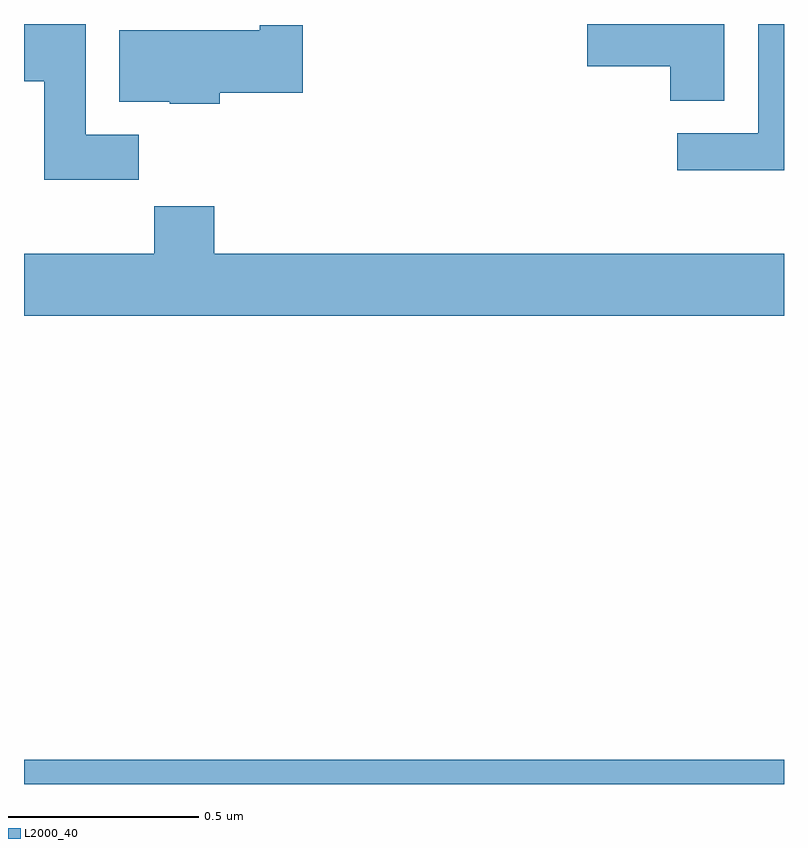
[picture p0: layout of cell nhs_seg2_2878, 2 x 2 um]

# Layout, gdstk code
import gdstk
lib = gdstk.Library(unit=1e-6, precision=1e-09)
def R(c, l, rs):  # rectangles x0, y0, x1, y1
    for r in rs: c.add(gdstk.rectangle(r[:2], r[2:], *l))
def P(c, l, *ps):  # polygons
    for p in ps: c.add(gdstk.Polygon(p, *l))
L2000_40 = (2000, 40)

nhs_seg2_2878 = lib.new_cell('nhs_seg2_2878')
R(nhs_seg2_2878, L2000_40, [(147,583.8,149,583.864)])
P(nhs_seg2_2878, L2000_40, [(148.843,585.8),(148.482,585.8),(148.482,585.689),(148.7,585.689),(148.7,585.598),(148.843,585.598)],
  [(147.302,585.508),(147.163,585.508),(147.163,585.8),(147,585.8),(147,585.649),(147.053,585.649),(147.053,585.39),(147.302,585.39)],
  [(149,585.8),(148.932,585.8),(148.932,585.513),(148.719,585.513),(148.719,585.415),(149,585.415)],
  [(147.515,585.619),(147.733,585.619),(147.733,585.797),(147.62,585.797),(147.62,585.784),(147.251,585.784),(147.251,585.596),(147.384,585.596),(147.384,585.59),(147.515,585.59)],
  [(147.343,585.32),(147.343,585.196),(147,585.196),(147,585.032),(149,585.032),(149,585.196),(147.5,585.196),(147.5,585.32)])

lib.write_gds('nhs_seg2_2878.gds')
